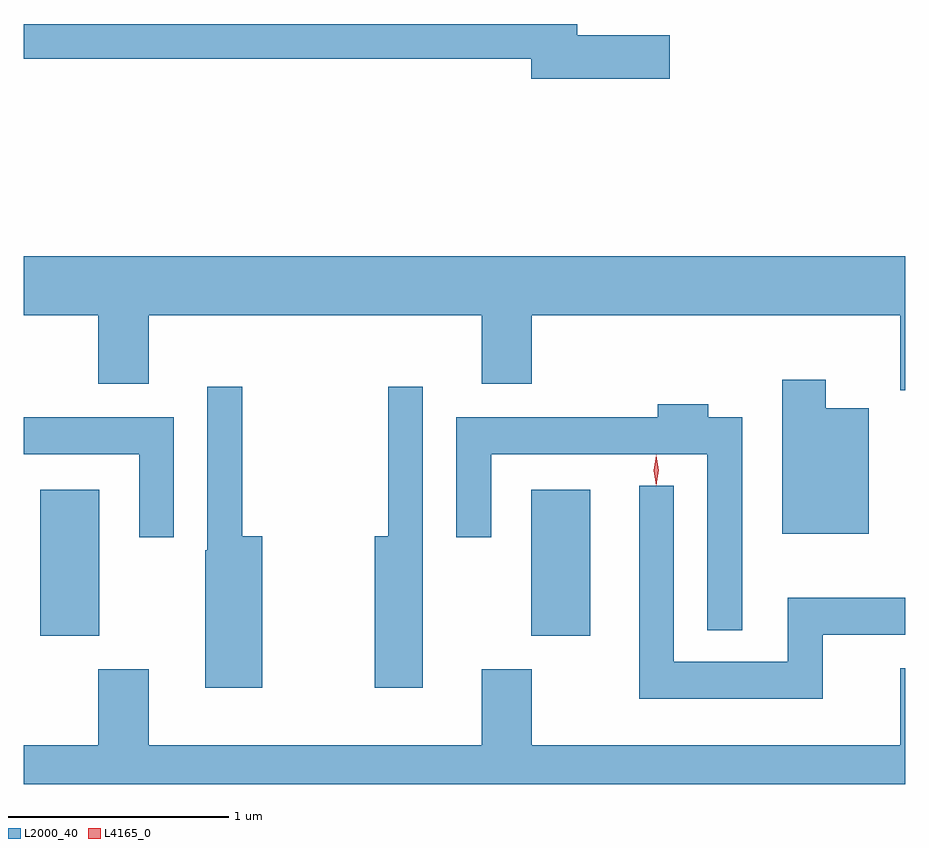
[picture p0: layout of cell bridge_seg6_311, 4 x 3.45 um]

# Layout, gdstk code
import gdstk
lib = gdstk.Library(unit=1e-6, precision=1e-09)
def R(c, l, rs):  # rectangles x0, y0, x1, y1
    for r in rs: c.add(gdstk.rectangle(r[:2], r[2:], *l))
def P(c, l, *ps):  # polygons
    for p in ps: c.add(gdstk.Polygon(p, *l))
L2000_40 = (2000, 40)
L4165_0 = (4165, 0)

bridge_seg6_311 = lib.new_cell('bridge_seg6_311')
R(bridge_seg6_311, L2000_40, [(1316.746,1559.681,1317.014,1560.344), (1318.976,1559.681,1319.244,1560.344)])
P(bridge_seg6_311, L2000_40, [(1319.604,1562.409),(1319.184,1562.409),(1319.184,1562.459),(1316.673,1562.459),(1316.673,1562.301),(1318.976,1562.301),(1318.976,1562.211),(1319.604,1562.211)],
  [(1320.673,1561.404),(1316.673,1561.404),(1316.673,1561.136),(1317.011,1561.136),(1317.011,1560.826),(1317.239,1560.826),(1317.239,1561.136),(1318.751,1561.136),(1318.751,1560.826),(1318.979,1560.826),(1318.979,1561.136),(1320.651,1561.136),(1320.651,1560.796),(1320.673,1560.796)],
  [(1320.509,1560.714),(1320.314,1560.714),(1320.314,1560.844),(1320.116,1560.844),(1320.116,1560.146),(1320.509,1560.146)],
  [(1317.754,1560.134),(1317.664,1560.134),(1317.664,1560.813),(1317.506,1560.813),(1317.506,1560.07),(1317.496,1560.07),(1317.496,1559.446),(1317.754,1559.446)],
  [(1318.484,1560.813),(1318.326,1560.813),(1318.326,1560.134),(1318.266,1560.134),(1318.266,1559.446),(1318.484,1559.446)],
  [(1319.934,1560.674),(1319.779,1560.674),(1319.779,1560.734),(1319.551,1560.734),(1319.551,1560.674),(1318.636,1560.674),(1318.636,1560.128),(1318.794,1560.128),(1318.794,1560.506),(1319.776,1560.506),(1319.776,1559.708),(1319.934,1559.708)],
  [(1317.354,1560.674),(1316.673,1560.674),(1316.673,1560.506),(1317.196,1560.506),(1317.196,1560.128),(1317.354,1560.128)],
  [(1320.299,1559.686),(1320.673,1559.686),(1320.673,1559.854),(1320.141,1559.854),(1320.141,1559.564),(1319.624,1559.564),(1319.624,1560.363),(1319.466,1560.363),(1319.466,1559.396),(1320.299,1559.396)],
  [(1320.673,1559.534),(1320.651,1559.534),(1320.651,1559.184),(1318.979,1559.184),(1318.979,1559.529),(1318.751,1559.529),(1318.751,1559.184),(1317.239,1559.184),(1317.239,1559.529),(1317.011,1559.529),(1317.011,1559.184),(1316.673,1559.184),(1316.673,1559.009),(1320.673,1559.009)])
P(bridge_seg6_311, L4165_0, [(1319.543,1560.363),(1319.543,1560.364),(1319.533,1560.433),(1319.543,1560.502),(1319.543,1560.503),(1319.544,1560.502),(1319.553,1560.433),(1319.544,1560.364)],
  [(1319.544,1560.367),(1319.543,1560.368),(1319.534,1560.434),(1319.543,1560.5),(1319.544,1560.5),(1319.544,1560.5),(1319.554,1560.434),(1319.544,1560.368)])

lib.write_gds('bridge_seg6_311.gds')
